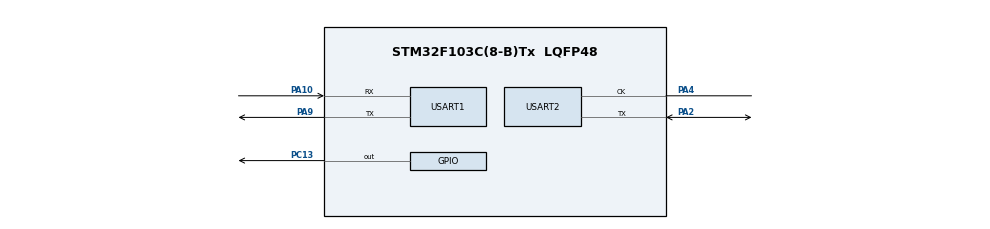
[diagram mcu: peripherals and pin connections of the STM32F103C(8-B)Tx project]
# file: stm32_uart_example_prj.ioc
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Dma.Request0=USART1_RX
Dma.Request1=USART1_TX
Dma.Request2=USART2_RX
Dma.Request3=USART2_TX
Dma.USART1_RX.0.Direction=DMA_PERIPH_TO_MEMORY
Dma.USART1_RX.0.Instance=DMA1_Channel5
Dma.USART1_RX.0.MemDataAlignment=DMA_MDATAALIGN_BYTE
Dma.USART1_RX.0.MemInc=DMA_MINC_ENABLE
Dma.USART1_RX.0.Mode=DMA_NORMAL
Dma.USART1_RX.0.PeriphDataAlignment=DMA_PDATAALIGN_BYTE
Dma.USART1_RX.0.PeriphInc=DMA_PINC_DISABLE
Dma.USART1_RX.0.Priority=DMA_PRIORITY_LOW
Dma.USART1_TX.1.Direction=DMA_MEMORY_TO_PERIPH
Dma.USART1_TX.1.Instance=DMA1_Channel4
Dma.USART1_TX.1.MemDataAlignment=DMA_MDATAALIGN_BYTE
Dma.USART1_TX.1.MemInc=DMA_MINC_ENABLE
Dma.USART1_TX.1.Mode=DMA_NORMAL
Dma.USART1_TX.1.PeriphDataAlignment=DMA_PDATAALIGN_BYTE
Dma.USART1_TX.1.PeriphInc=DMA_PINC_DISABLE
Dma.USART1_TX.1.Priority=DMA_PRIORITY_LOW
Dma.USART2_RX.2.Direction=DMA_PERIPH_TO_MEMORY
Dma.USART2_RX.2.Instance=DMA1_Channel6
Dma.USART2_RX.2.MemDataAlignment=DMA_MDATAALIGN_BYTE
Dma.USART2_RX.2.MemInc=DMA_MINC_ENABLE
Dma.USART2_RX.2.Mode=DMA_NORMAL
Dma.USART2_RX.2.PeriphDataAlignment=DMA_PDATAALIGN_BYTE
Dma.USART2_RX.2.PeriphInc=DMA_PINC_DISABLE
Dma.USART2_RX.2.Priority=DMA_PRIORITY_LOW
Dma.USART2_TX.3.Direction=DMA_MEMORY_TO_PERIPH
Dma.USART2_TX.3.Instance=DMA1_Channel7
Dma.USART2_TX.3.MemDataAlignment=DMA_MDATAALIGN_BYTE
Dma.USART2_TX.3.MemInc=DMA_MINC_ENABLE
Dma.USART2_TX.3.Mode=DMA_NORMAL
Dma.USART2_TX.3.PeriphDataAlignment=DMA_PDATAALIGN_BYTE
Dma.USART2_TX.3.PeriphInc=DMA_PINC_DISABLE
Dma.USART2_TX.3.Priority=DMA_PRIORITY_LOW
Mcu.Family=STM32F1
Mcu.Name=STM32F103C(8-B)Tx
Mcu.Package=LQFP48
NVIC.DMA1_Channel4_IRQn=true\:0\:0\:false\:false\:true\:false
NVIC.DMA1_Channel5_IRQn=true\:0\:0\:false\:false\:true\:false
NVIC.DMA1_Channel6_IRQn=true\:0\:0\:false\:false\:true\:false
NVIC.DMA1_Channel7_IRQn=true\:0\:0\:false\:false\:true\:false
NVIC.PriorityGroup=NVIC_PRIORITYGROUP_4
NVIC.USART1_IRQn=true\:0\:0\:false\:false\:true\:true
NVIC.USART2_IRQn=true\:0\:0\:false\:false\:true\:true
PA10.Mode=Asynchronous
PA10.Signal=USART1_RX
PA2.Mode=SmartCard_With_Clock
PA2.Signal=USART2_TX
PA4.Mode=SmartCard_With_Clock
PA4.Signal=USART2_CK
PA9.Mode=Asynchronous
PA9.Signal=USART1_TX
PC13-TAMPER-RTC.Signal=GPIO_Output
ProjectManager.HeapSize=0x200
ProjectManager.StackSize=0x400
ProjectManager.TargetToolchain=Makefile
RCC.APB1Freq_Value=8000000
RCC.APB2Freq_Value=8000000
USART1.VirtualMode=VM_ASYNC
USART2.VirtualClockMode=VM_SMARTCARD
USART2.VirtualMode=VM_SMARTCARD
VP_SYS_VS_ND.Mode=No_Debug
board=stm32_uart_example_prj

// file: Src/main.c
/**
  ******************************************************************************
  * @file           : main.c
  * @brief          : Main program body
  ******************************************************************************
  ** This notice applies to any and all portions of this file
  * that are not between comment pairs USER CODE BEGIN and
  * USER CODE END. Other portions of this file, whether
  * inserted by the user or by software development tools
  * are owned by their respective copyright owners.
  *
  * COPYRIGHT(c) 2018 STMicroelectronics
  *
  * Redistribution and use in source and binary forms, with or without modification,
  * are permitted provided that the following conditions are met:
  *   1. Redistributions of source code must retain the above copyright notice,
  *      this list of conditions and the following disclaimer.
  *   2. Redistributions in binary form must reproduce the above copyright notice,
  *      this list of conditions and the following disclaimer in the documentation
  *      and/or other materials provided with the distribution.
  *   3. Neither the name of STMicroelectronics nor the names of its contributors
  *      may be used to endorse or promote products derived from this software
  *      without specific prior written permission.
  *
  * THIS SOFTWARE IS PROVIDED BY THE COPYRIGHT HOLDERS AND CONTRIBUTORS "AS IS"
  * AND ANY EXPRESS OR IMPLIED WARRANTIES, INCLUDING, BUT NOT LIMITED TO, THE
  * IMPLIED WARRANTIES OF MERCHANTABILITY AND FITNESS FOR A PARTICULAR PURPOSE ARE
  * DISCLAIMED. IN NO EVENT SHALL THE COPYRIGHT HOLDER OR CONTRIBUTORS BE LIABLE
  * FOR ANY DIRECT, INDIRECT, INCIDENTAL, SPECIAL, EXEMPLARY, OR CONSEQUENTIAL
  * DAMAGES (INCLUDING, BUT NOT LIMITED TO, PROCUREMENT OF SUBSTITUTE GOODS OR
  * SERVICES; LOSS OF USE, DATA, OR PROFITS; OR BUSINESS INTERRUPTION) HOWEVER
  * CAUSED AND ON ANY THEORY OF LIABILITY, WHETHER IN CONTRACT, STRICT LIABILITY,
  * OR TORT (INCLUDING NEGLIGENCE OR OTHERWISE) ARISING IN ANY WAY OUT OF THE USE
  * OF THIS SOFTWARE, EVEN IF ADVISED OF THE POSSIBILITY OF SUCH DAMAGE.
  *
  ******************************************************************************
  */
#include "main.h"
#include "stm32f1xx_hal.h"

UART_HandleTypeDef huart1;
SMARTCARD_HandleTypeDef hsc2;
DMA_HandleTypeDef hdma_usart1_rx;
DMA_HandleTypeDef hdma_usart1_tx;
DMA_HandleTypeDef hdma_usart2_rx;
DMA_HandleTypeDef hdma_usart2_tx;

/* USER CODE BEGIN PV */
/* Private variables ---------------------------------------------------------*/

#define RXBUFFERSIZE 1

/* Buffer used for transmission */
uint8_t aTxBuffer[] = "\n\r ****UART-Hyperterminal communication based on DMA****\n\r Enter RXBUFFERSIZE characters using keyboard :\n\r";
uint8_t TXBUFFERSIZE = sizeof(aTxBuffer);///sizeof(aTxBuffer[0]);

/* Buffer used for reception */
uint8_t aRxBuffer[RXBUFFERSIZE];

/* USER CODE END PV */

void SystemClock_Config(void);
static void MX_GPIO_Init(void);
static void MX_DMA_Init(void);
static void MX_USART1_UART_Init(void);
static void MX_USART2_SMARTCARD_Init(void);

/* USER CODE BEGIN PFP */
/* Private function prototypes -----------------------------------------------*/

/* USER CODE END PFP */

int main(void)
{

  /* MCU Configuration----------------------------------------------------------*/

  /* Reset of all peripherals, Initializes the Flash interface and the Systick. */
  HAL_Init();

  /* Configure the system clock */
  SystemClock_Config();

  /* Initialize all configured peripherals */
  MX_GPIO_Init();
  MX_DMA_Init();
  MX_USART1_UART_Init();
  MX_USART2_SMARTCARD_Init();

  /* Infinite loop */
  /* USER CODE BEGIN WHILE */
  while (1)
  {

	  if (HAL_UART_Init(&huart1) != HAL_OK)
	  {
	    /* Initialization Error */
	    Error_Handler();
	  }
	  /*##-2- Start the transmission process #####################################*/
	  /* User start transmission data through "TxBuffer" buffer */
	  if (HAL_UART_Transmit_DMA(&huart1, (uint8_t *)aTxBuffer, TXBUFFERSIZE) != HAL_OK)
	  {
	    /* Transfer error in transmission process */
	    Error_Handler();
	  }

	  /*##-3- Put UART peripheral in reception process ###########################*/
	  /* Any data received will be stored in "RxBuffer" buffer : the number max of
	     data received is 10 */
	  if (HAL_SMARTCARD_Receive_DMA(&hsc2, (uint8_t *)aRxBuffer, RXBUFFERSIZE) != HAL_OK)
	  {
	    /* Transfer error in reception process */
	    Error_Handler();
	  }

	  /*##-4- Wait for the end of the transfer ###################################*/
	  /*  Before starting a new communication transfer, you need to check the current
	      state of the peripheral; if it’s busy you need to wait for the end of current
	      transfer before starting a new one.
	      For simplicity reasons, this example is just waiting till the end of the
	      transfer, but application may perform other tasks while transfer operation
	      is ongoing. */
	  while (HAL_UART_GetState(&huart1) != HAL_UART_STATE_READY)
	  {
	  }

	  /*##-5- Send the received Buffer ###########################################*/
	  if (HAL_UART_Transmit_DMA(&huart1, (uint8_t *)aRxBuffer, RXBUFFERSIZE) != HAL_OK)
	  {
	    /* Transfer error in transmission process */
	    Error_Handler();
	  }

	  /*##-6- Wait for the end of the transfer ###################################*/
	  /*  Before starting a new communication transfer, you need to check the current
	      state of the peripheral; if it’s busy you need to wait for the end of current
	      transfer before starting a new one.
	      For simplicity reasons, this example is just waiting till the end of the
	      transfer, but application may perform other tasks while transfer operation
	      is ongoing. */
	  while (HAL_UART_GetState(&huart1) != HAL_UART_STATE_READY)
	  {
	  }

	    HAL_GPIO_TogglePin(GPIOC,GPIO_PIN_13);
	    /* Insert delay 100 ms */
	    HAL_Delay(100);
  /* USER CODE END WHILE */

  }

}

void SystemClock_Config(void)
{

  RCC_OscInitTypeDef RCC_OscInitStruct;
  RCC_ClkInitTypeDef RCC_ClkInitStruct;

    /**Initializes the CPU, AHB and APB busses clocks
    */
  RCC_OscInitStruct.OscillatorType = RCC_OSCILLATORTYPE_HSI;
  RCC_OscInitStruct.HSIState = RCC_HSI_ON;
  RCC_OscInitStruct.HSICalibrationValue = 16;
  RCC_OscInitStruct.PLL.PLLState = RCC_PLL_NONE;
  if (HAL_RCC_OscConfig(&RCC_OscInitStruct) != HAL_OK)
  {
    _Error_Handler(__FILE__, __LINE__);
  }

    /**Initializes the CPU, AHB and APB busses clocks
    */
  RCC_ClkInitStruct.ClockType = RCC_CLOCKTYPE_HCLK|RCC_CLOCKTYPE_SYSCLK
                              |RCC_CLOCKTYPE_PCLK1|RCC_CLOCKTYPE_PCLK2;
  RCC_ClkInitStruct.SYSCLKSource = RCC_SYSCLKSOURCE_HSI;
  RCC_ClkInitStruct.AHBCLKDivider = RCC_SYSCLK_DIV1;
  RCC_ClkInitStruct.APB1CLKDivider = RCC_HCLK_DIV1;
  RCC_ClkInitStruct.APB2CLKDivider = RCC_HCLK_DIV1;

  if (HAL_RCC_ClockConfig(&RCC_ClkInitStruct, FLASH_LATENCY_0) != HAL_OK)
  {
    _Error_Handler(__FILE__, __LINE__);
  }

    /**Configure the Systick interrupt time
    */
  HAL_SYSTICK_Config(HAL_RCC_GetHCLKFreq()/1000);

    /**Configure the Systick
    */
  HAL_SYSTICK_CLKSourceConfig(SYSTICK_CLKSOURCE_HCLK);

  /* SysTick_IRQn interrupt configuration */
  HAL_NVIC_SetPriority(SysTick_IRQn, 0, 0);
}

/* USART1 init function */
static void MX_USART1_UART_Init(void)
{

  huart1.Instance = USART1;
  huart1.Init.BaudRate = 115200;
  huart1.Init.WordLength = UART_WORDLENGTH_8B;
  huart1.Init.StopBits = UART_STOPBITS_1;
  huart1.Init.Parity = UART_PARITY_NONE;
  huart1.Init.Mode = UART_MODE_TX_RX;
  huart1.Init.HwFlowCtl = UART_HWCONTROL_NONE;
  huart1.Init.OverSampling = UART_OVERSAMPLING_16;
  if (HAL_UART_Init(&huart1) != HAL_OK)
  {
    _Error_Handler(__FILE__, __LINE__);
  }

}

/* USART2 init function */
static void MX_USART2_SMARTCARD_Init(void)
{

  hsc2.Instance = USART2;
  hsc2.Init.BaudRate = 115200;
  hsc2.Init.WordLength = SMARTCARD_WORDLENGTH_9B;
  hsc2.Init.StopBits = SMARTCARD_STOPBITS_1_5;
  hsc2.Init.Parity = SMARTCARD_PARITY_EVEN;
  hsc2.Init.Mode = SMARTCARD_MODE_TX_RX;
  hsc2.Init.CLKPolarity = SMARTCARD_POLARITY_LOW;
  hsc2.Init.CLKPhase = SMARTCARD_PHASE_1EDGE;
  hsc2.Init.CLKLastBit = SMARTCARD_LASTBIT_DISABLE;
  hsc2.Init.Prescaler = 10;
  hsc2.Init.GuardTime = 0;
  hsc2.Init.NACKState = SMARTCARD_NACK_DISABLE;
  if (HAL_SMARTCARD_Init(&hsc2) != HAL_OK)
  {
    _Error_Handler(__FILE__, __LINE__);
  }

}

static void MX_DMA_Init(void)
{
  /* DMA controller clock enable */
  __HAL_RCC_DMA1_CLK_ENABLE();

  /* DMA interrupt init */
  /* DMA1_Channel4_IRQn interrupt configuration */
  HAL_NVIC_SetPriority(DMA1_Channel4_IRQn, 0, 0);
  HAL_NVIC_EnableIRQ(DMA1_Channel4_IRQn);
  /* DMA1_Channel5_IRQn interrupt configuration */
  HAL_NVIC_SetPriority(DMA1_Channel5_IRQn, 0, 0);
  HAL_NVIC_EnableIRQ(DMA1_Channel5_IRQn);
  /* DMA1_Channel6_IRQn interrupt configuration */
  HAL_NVIC_SetPriority(DMA1_Channel6_IRQn, 0, 0);
  HAL_NVIC_EnableIRQ(DMA1_Channel6_IRQn);
  /* DMA1_Channel7_IRQn interrupt configuration */
  HAL_NVIC_SetPriority(DMA1_Channel7_IRQn, 0, 0);
  HAL_NVIC_EnableIRQ(DMA1_Channel7_IRQn);

}

/** Configure pins as
        * Analog
        * Input
        * Output
        * EVENT_OUT
        * EXTI
*/
static void MX_GPIO_Init(void)
{

  GPIO_InitTypeDef GPIO_InitStruct;

  /* GPIO Ports Clock Enable */
  __HAL_RCC_GPIOC_CLK_ENABLE();
  __HAL_RCC_GPIOA_CLK_ENABLE();

  /*Configure GPIO pin Output Level */
  HAL_GPIO_WritePin(GPIOC, GPIO_PIN_13, GPIO_PIN_RESET);

  /*Configure GPIO pin : PC13 */
  GPIO_InitStruct.Pin = GPIO_PIN_13;
  GPIO_InitStruct.Mode = GPIO_MODE_OUTPUT_PP;
  GPIO_InitStruct.Speed = GPIO_SPEED_FREQ_LOW;
  HAL_GPIO_Init(GPIOC, &GPIO_InitStruct);

}

void _Error_Handler(char *file, int line)
{
  while(1)
  {
  }
}

/************************ (C) COPYRIGHT STMicroelectronics *****END OF FILE****/
